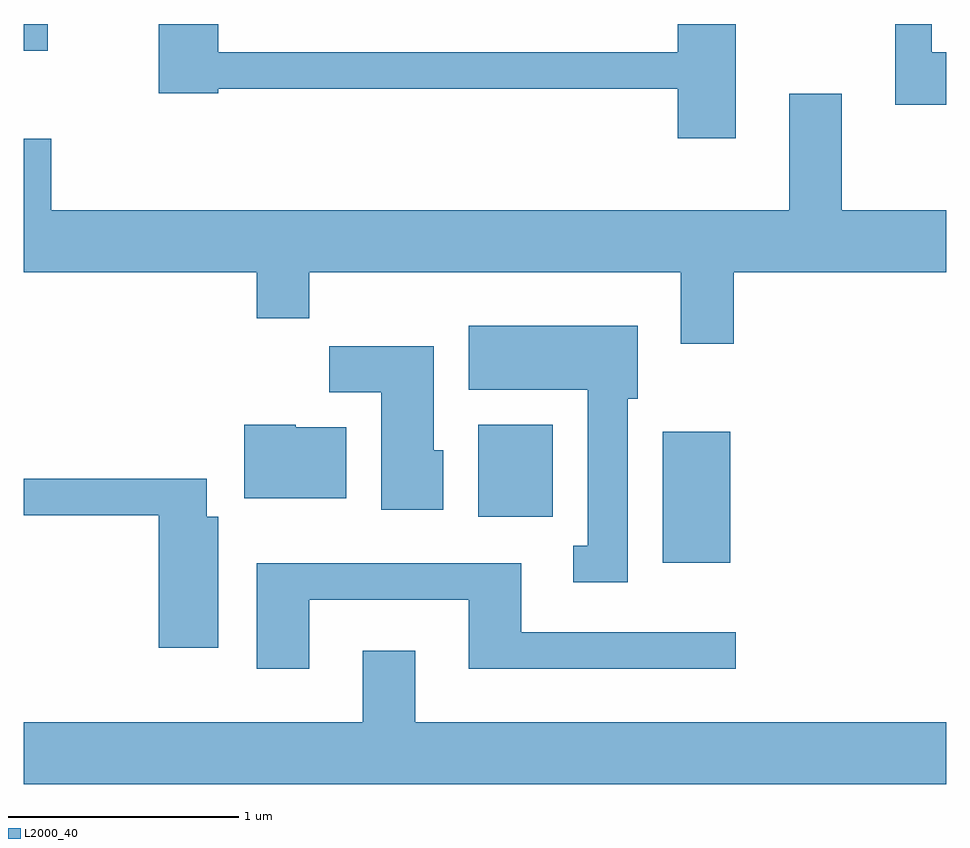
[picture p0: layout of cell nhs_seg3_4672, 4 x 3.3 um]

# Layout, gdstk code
import gdstk
lib = gdstk.Library(unit=1e-6, precision=1e-09)
def R(c, l, rs):  # rectangles x0, y0, x1, y1
    for r in rs: c.add(gdstk.rectangle(r[:2], r[2:], *l))
def P(c, l, *ps):  # polygons
    for p in ps: c.add(gdstk.Polygon(p, *l))
L2000_40 = (2000, 40)

nhs_seg3_4672 = lib.new_cell('nhs_seg3_4672')
R(nhs_seg3_4672, L2000_40, [(324.381,1213.556,324.674,1214.124), (323.581,1213.756,323.904,1214.154), (321.611,1215.776,321.714,1215.892)])
P(nhs_seg3_4672, L2000_40, [(325.611,1215.769),(325.549,1215.769),(325.549,1215.892),(325.391,1215.892),(325.391,1215.541),(325.611,1215.541)],
  [(324.699,1215.892),(324.446,1215.892),(324.446,1215.769),(322.454,1215.769),(322.454,1215.892),(322.196,1215.892),(322.196,1215.591),(322.454,1215.591),(322.454,1215.611),(324.446,1215.611),(324.446,1215.396),(324.699,1215.396)],
  [(324.689,1214.816),(325.611,1214.816),(325.611,1215.084),(325.159,1215.084),(325.159,1215.589),(324.931,1215.589),(324.931,1215.084),(321.729,1215.084),(321.729,1215.394),(321.611,1215.394),(321.611,1214.816),(322.621,1214.816),(322.621,1214.616),(322.849,1214.616),(322.849,1214.816),(324.461,1214.816),(324.461,1214.506),(324.689,1214.506)],
  [(324.229,1214.266),(324.274,1214.266),(324.274,1214.584),(323.541,1214.584),(323.541,1214.306),(324.056,1214.306),(324.056,1213.629),(323.993,1213.629),(323.993,1213.471),(324.229,1213.471)],
  [(323.429,1214.044),(323.389,1214.044),(323.389,1214.494),(322.936,1214.494),(322.936,1214.296),(323.161,1214.296),(323.161,1213.786),(323.429,1213.786)],
  [(323.009,1214.144),(322.79,1214.144),(322.79,1214.154),(322.566,1214.154),(322.566,1213.836),(323.009,1213.836)],
  [(322.454,1213.754),(322.404,1213.754),(322.404,1213.919),(321.611,1213.919),(321.611,1213.761),(322.196,1213.761),(322.196,1213.186),(322.454,1213.186)],
  [(322.849,1213.396),(323.541,1213.396),(323.541,1213.096),(324.698,1213.096),(324.698,1213.254),(323.769,1213.254),(323.769,1213.554),(322.621,1213.554),(322.621,1213.096),(322.849,1213.096)],
  [(325.611,1212.864),(323.309,1212.864),(323.309,1213.174),(323.081,1213.174),(323.081,1212.864),(321.611,1212.864),(321.611,1212.596),(325.611,1212.596)])

lib.write_gds('nhs_seg3_4672.gds')
